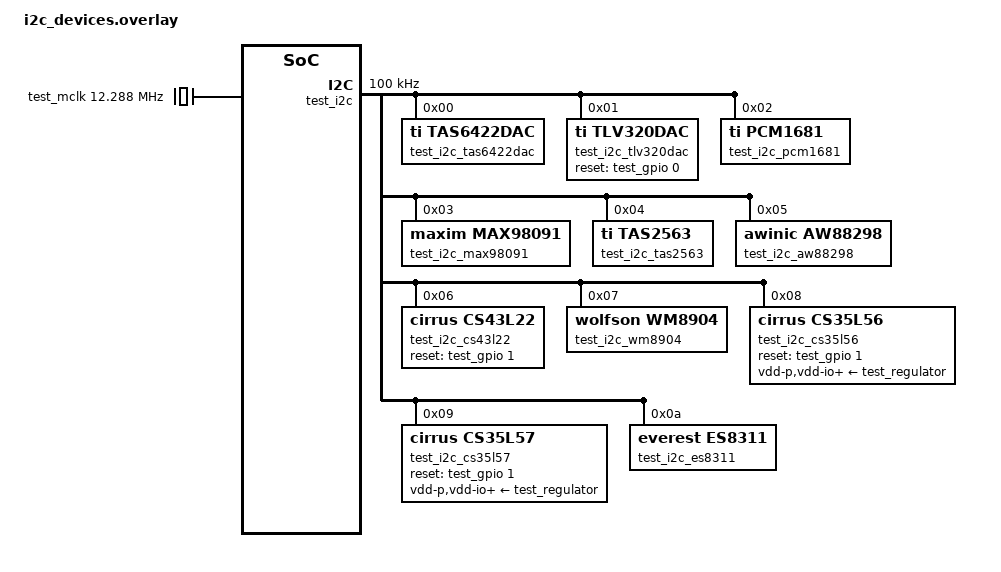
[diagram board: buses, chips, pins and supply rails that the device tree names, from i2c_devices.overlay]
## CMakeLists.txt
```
# SPDX-License-Identifier: Apache-2.0

cmake_minimum_required(VERSION 3.28.0)
find_package(Zephyr REQUIRED HINTS $ENV{ZEPHYR_BASE})
project(build_all_misc)

FILE(GLOB app_sources src/*.c)
target_sources(app PRIVATE ${app_sources})
```

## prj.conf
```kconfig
CONFIG_TEST=y
CONFIG_GPIO=y
CONFIG_AUDIO=y
CONFIG_AUDIO_CODEC=y
CONFIG_AUDIO_DMIC=y
# Must be set to an init priority greater than that of
# CONFIG_REGULATOR_FAKE_INIT_PRIORITY
CONFIG_AUDIO_CODEC_CS35L5X_INIT_PRIORITY=77
```

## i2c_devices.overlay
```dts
/*
 * Copyright (c) 2024 TOKITA Hiroshi
 * SPDX-License-Identifier: Apache-2.0
 */

/ {
	test {
		#address-cells = <1>;
		#size-cells = <1>;

		test_regulator: regulator {
			compatible = "zephyr,fake-regulator";

			reg0: REG0 {};
		};

		test_mclk: test-mclk {
			compatible = "fixed-clock";
			clock-frequency = <12288000>;
			#clock-cells = <0>;
		};

		test_i2c: i2c@11112222 {
			compatible = "vnd,i2c";
			reg = <0x11112222 0x1000>;
			#address-cells = <1>;
			#size-cells = <0>;
			clock-frequency = <100000>;
			status = "okay";

			test_i2c_tas6422dac: tas6422dac@0 {
				compatible = "ti,tas6422dac";
				reg = <0x0>;
				status = "okay";
			};

			test_i2c_tlv320dac: tlv320dac@1 {
				compatible = "ti,tlv320dac";
				reg = <0x1>;
				reset-gpios = <&test_gpio 0 0>;
				status = "okay";
			};

			test_i2c_pcm1681: pcm1681@2 {
				compatible = "ti,pcm1681";
				reg = <0x2>;
				status = "okay";
			};

			test_i2c_max98091: max98091@3 {
				compatible = "maxim,max98091";
				reg = <0x3>;
				mclk-frequency = <13000000>;
				status = "okay";
			};

			test_i2c_tas2563: tas2563@4 {
				compatible = "ti,tas2563";
				reg = <0x4>;
				status = "okay";
			};

			test_i2c_aw88298: aw88298@5 {
				compatible = "awinic,aw88298";
				reg = <0x5>;
				status = "okay";
			};

			test_i2c_cs43l22: cs43l22@6 {
				compatible = "cirrus,cs43l22";
				reg = <0x6>;
				reset-gpios = <&test_gpio 1 0>;
				status = "okay";
			};

			test_i2c_wm8904: wm8904@7 {
				compatible = "wolfson,wm8904";
				reg = <0x7>;
				clocks = <&test_mclk>;
				clock-names = "mclk";
				status = "okay";
			};

			test_i2c_cs35l56: cs35l56@8 {
				compatible = "cirrus,cs35l56";
				reg = <0x8>;
				reset-gpios = <&test_gpio 1 0>;
				vdd-p-supply = <&test_regulator>;
				vdd-io-supply = <&test_regulator>;
				vdd-a-supply = <&test_regulator>;
				vdd-b-supply = <&test_regulator>;
				vdd-amp-supply = <&test_regulator>;
				status = "okay";
			};

			test_i2c_cs35l57: cs35l57@9 {
				compatible = "cirrus,cs35l57";
				reg = <0x9>;
				reset-gpios = <&test_gpio 1 0>;
				vdd-p-supply = <&test_regulator>;
				vdd-io-supply = <&test_regulator>;
				vdd-a-supply = <&test_regulator>;
				vdd-b-supply = <&test_regulator>;
				vdd-amp-supply = <&test_regulator>;
				status = "okay";
			};

			test_i2c_es8311: es8311@a {
				compatible = "everest,es8311";
				reg = <0xa>;
				status = "okay";
			};
		};

		test_gpio: gpio@deadbeef {
			compatible = "vnd,gpio";
			reg = <0xdeadbeef 0x1000>;
			gpio-controller;
			#gpio-cells = <0x2>;
			status = "okay";
		};
	};
};
```

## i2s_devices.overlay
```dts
/*
 * Copyright (c) 2024 TOKITA Hiroshi
 * SPDX-License-Identifier: Apache-2.0
 */

/ {
	test {
		#address-cells = <1>;
		#size-cells = <1>;

		test_i2s: i2s@11112222 {
			compatible = "vnd,i2s";
			reg = <0x11112222 0x1000>;
			#address-cells = <1>;
			#size-cells = <0>;
			status = "okay";

			test_i2s_mpxxdtyy: mpxxdtyy@0 {
				compatible = "st,mpxxdtyy";
				reg = <0>;
			};

			test_i2s_max98357a: max98357a@1 {
				compatible = "maxim,max98357a";
				reg = <1>;
				sdmode-gpios = <&test_gpio 0 0>;
				gain-gpios = <&test_gpio 1 0>;
			};
		};

		test_gpio: gpio@deadbeef {
			compatible = "vnd,gpio";
			reg = <0xdeadbeef 0x1000>;
			gpio-controller;
			#gpio-cells = <0x2>;
			status = "okay";
		};
	};
};
```

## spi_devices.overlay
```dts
/*
 * Copyright (c) 2025 Basalte bv
 * SPDX-License-Identifier: Apache-2.0
 */

/ {
	test {
		#address-cells = <1>;
		#size-cells = <1>;

		test_spi: spi@11112222 {
			compatible = "vnd,spi";
			reg = <0x11112222 0x1000>;
			#address-cells = <1>;
			#size-cells = <0>;
			status = "okay";

			test_spi_pcm1681: pcm1681@0 {
				compatible = "ti,pcm1681";
				reg = <0x0>;
				spi-max-frequency = <100000>;
				status = "okay";
			};

			test_spi_tlv320aic26: tlv320aic26@1 {
				compatible = "ti,tlv320aic26";
				reg = <0x1>;
				spi-max-frequency = <12000000>;
				mclk-frequency = <12000000>;
				status = "okay";
			};

			test_spi_cs35l56: cs35l56@2 {
				compatible = "cirrus,cs35l56";
				reg = <0x2>;
				spi-max-frequency = <10000000>;
				status = "okay";
			};

			test_spi_cs35l57: cs35l57@3 {
				compatible = "cirrus,cs35l57";
				reg = <0x3>;
				spi-max-frequency = <10000000>;
				status = "okay";
			};
		};
	};
};
```

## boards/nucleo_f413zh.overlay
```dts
/*
 * SPDX-FileCopyrightText: Copyright (c) 2026 STMicroelectronics
 * SPDX-License-Identifier: Apache-2.0
 */

/ {
	aliases {
		dmic0 = &dmic_dev;
	};
};

/* PLLI2S = 35 MHz */
&plli2s {
	div-m = <8>;
	mul-n = <245>;
	div-r = <7>;
	post-div-r = <2>;
	clocks = <&clk_hse>;
	status = "okay";
};

&dfsdm1 {
	clocks = <&rcc STM32_CLOCK(APB2, 24)>,
		 <&rcc STM32_SRC_PLLI2S_R CKDFSDM1A_SEL(0)>;
	clock-names = "pclk", "aclk";
	status = "okay";

	dmic_dev: filter@0 {
		pinctrl-0 = <&dfsdm1_ckout_pe9 &dfsdm1_datin2_pe7>;
		pinctrl-names = "default";
		status = "okay";

		channel@2 {
			reg = <2>;
		};
	};
};
```

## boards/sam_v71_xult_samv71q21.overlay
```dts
/*
 * SPDX-FileCopyrightText: Copyright (c) 2026 Ugo Marchand
 * SPDX-License-Identifier: Apache-2.0
 */

/*
 * The playback node lives under the timer counter whose channel paces the
 * conversions. tc0 itself stays disabled, so that the counter driver does not
 * bind to the registers this driver programs.
 */
&tc0 {
	dac-audio {
		compatible = "atmel,sam-dac-audio";
		status = "okay";
		channel = <0>;
		io-channels = <&dacc 1>;
		dmas = <&xdmac 0 DMA_PERID_DACC1_TX>;
		dma-names = "tx";
	};
};

&dacc {
	pinctrl-0 = <&dac_default>;
	pinctrl-names = "default";
};

&xdmac {
	status = "okay";
};

&pinctrl {
	dac_default: dac_default {
		group1 {
			pinmux = <PD0X_DACC_DAC1>;
		};
	};
};
```

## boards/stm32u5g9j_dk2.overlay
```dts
/*
 * Copyright (c) 2026 STMicroelectronics
 *
 * SPDX-License-Identifier: Apache-2.0
 */

/ {
	aliases {
		dmic0 = &pdm0;
	};
};

/*
 * MDF1:
 * PLL3_Q selected as input audio clock.
 *
 * f_PLL3 = 500 MHz (16 MHz * 125 / 4)
 * f_PLL3Q = 500 MHz
 */
&pll3 {
	div-q = <1>;
};

&mdf1 {
	clocks = <&rcc STM32_CLOCK(AHB1, 3)>,
		 <&rcc STM32_SRC_PLL3_Q MDF1_SEL(2)>;
	clock-names = "pclk", "aclk";
	status = "okay";

	pdm0: filter@40025080 {
		pinctrl-0 = <&mdf1_cck0_pb8
			     &mdf1_sdi0_pb1>;
		pinctrl-names = "default";
		filter-order = <4>;
		st,reshape-filter-decimation = <4>;
		st,highpass-filter-cutoff = <0>;
		status = "okay";
	};
};
```

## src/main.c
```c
/*
 * Copyright (c) 2024 TOKITA Hiroshi
 *
 * SPDX-License-Identifier: Apache-2.0
 */

#ifdef CONFIG_REGULATOR_FAKE
#include <zephyr/drivers/regulator/fake.h>
DEFINE_FFF_GLOBALS;
#endif /* CONFIG_REGULATOR_FAKE */

int main(void)
{
	return 0;
}
```
